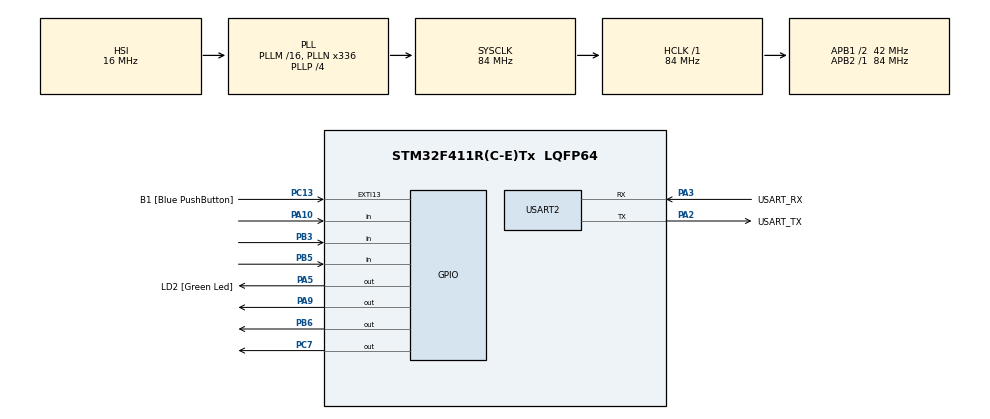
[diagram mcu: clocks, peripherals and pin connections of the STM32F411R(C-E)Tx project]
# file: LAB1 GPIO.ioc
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Mcu.Family=STM32F4
Mcu.Name=STM32F411R(C-E)Tx
Mcu.Package=LQFP64
NVIC.PriorityGroup=NVIC_PRIORITYGROUP_0
PA10.Signal=GPIO_Input
PA13.GPIO_Label=TMS
PA13.Mode=Serial_Wire
PA13.Signal=SYS_JTMS-SWDIO
PA14.GPIO_Label=TCK
PA14.Mode=Serial_Wire
PA14.Signal=SYS_JTCK-SWCLK
PA2.GPIO_Label=USART_TX
PA2.Mode=Asynchronous
PA2.Signal=USART2_TX
PA3.GPIO_Label=USART_RX
PA3.Mode=Asynchronous
PA3.Signal=USART2_RX
PA5.GPIO_Label=LD2 [Green Led]
PA5.Signal=GPIO_Output
PA9.Signal=GPIO_Output
PB3.Signal=GPIO_Input
PB5.Signal=GPIO_Input
PB6.Signal=GPIO_Output
PC13-ANTI_TAMP.GPIO_Label=B1 [Blue PushButton]
PC13-ANTI_TAMP.GPIO_ModeDefaultEXTI=GPIO_MODE_IT_FALLING
PC13-ANTI_TAMP.Signal=GPXTI13
PC14-OSC32_IN.Mode=LSE-External-Oscillator
PC14-OSC32_IN.Signal=RCC_OSC32_IN
PC15-OSC32_OUT.Mode=LSE-External-Oscillator
PC15-OSC32_OUT.Signal=RCC_OSC32_OUT
PC7.Signal=GPIO_Output
PH0\ -\ OSC_IN.Mode=HSE-External-Clock-Source
PH0\ -\ OSC_IN.Signal=RCC_OSC_IN
PH1\ -\ OSC_OUT.Mode=HSE-External-Clock-Source
PH1\ -\ OSC_OUT.Signal=RCC_OSC_OUT
ProjectManager.HeapSize=0x200
ProjectManager.StackSize=0x400
ProjectManager.TargetToolchain=STM32CubeIDE
RCC.48MHZClocksFreq_Value=84000000
RCC.AHBFreq_Value=84000000
RCC.APB1CLKDivider=RCC_HCLK_DIV2
RCC.APB1Freq_Value=42000000
RCC.APB1TimFreq_Value=84000000
RCC.APB2Freq_Value=84000000
RCC.APB2TimFreq_Value=84000000
RCC.CortexFreq_Value=84000000
RCC.FLatency-AdvancedSettings=FLASH_LATENCY_2
RCC.HCLKFreq_Value=84000000
RCC.HSE_VALUE=8000000
RCC.HSI_VALUE=16000000
RCC.PLLN=336
RCC.PLLP=RCC_PLLP_DIV4
RCC.SYSCLKFreq_VALUE=84000000
RCC.SYSCLKSource=RCC_SYSCLKSOURCE_PLLCLK
RCC.VCOOutputFreq_Value=336000000
USART2.VirtualMode=VM_ASYNC
board=NUCLEO-F411RE

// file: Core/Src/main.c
/* USER CODE BEGIN Header */
/**
  ******************************************************************************
  * @file           : main.c
  * @brief          : Main program body
  ******************************************************************************
  * @attention
  *
  * <h2><center>&copy; Copyright (c) 2021 STMicroelectronics.
  * All rights reserved.</center></h2>
  *
  * This software component is licensed by ST under BSD 3-Clause license,
  * the "License"; You may not use this file except in compliance with the
  * License. You may obtain a copy of the License at:
  *                        opensource.org/licenses/BSD-3-Clause
  *
  ******************************************************************************
  */
/* USER CODE END Header */
#include "main.h"

UART_HandleTypeDef huart2;

void SystemClock_Config(void);
static void MX_GPIO_Init(void);
static void MX_USART2_UART_Init(void);

int main(void)
{

  /* MCU Configuration--------------------------------------------------------*/

  /* Reset of all peripherals, Initializes the Flash interface and the Systick. */
  HAL_Init();

  /* Configure the system clock */
  SystemClock_Config();

  /* Initialize all configured peripherals */
  MX_GPIO_Init();
  MX_USART2_UART_Init();
  /* USER CODE BEGIN 2 */
  GPIO_PinState SwitchStateS1[2];
  GPIO_PinState SwitchStateS2[2];
  GPIO_PinState SwitchStateS3[2];
  uint16_t LED1_Period = 166; //3HZ
  uint32_t TimeStamp = 0;
  uint32_t ButtonTimeStamp = 0;
  uint32_t TimeOn = 500;
  uint32_t TimeOff = 1500;
  uint32_t TimeStamp3 = 0;
  /* USER CODE END 2 */

  /* Infinite loop */
  while (1)
  {

    /* USER CODE BEGIN 3 */
		  if (HAL_GetTick() - ButtonTimeStamp >= 100) // mS
			  {
				  ButtonTimeStamp = HAL_GetTick();
			  // switch press in LOW
			  SwitchStateS1[0] = HAL_GPIO_ReadPin(GPIOA, GPIO_PIN_10);
			  if(SwitchStateS1[1] == GPIO_PIN_SET && SwitchStateS1[0] == GPIO_PIN_RESET)
			  {
				  //Change Half Period of LED 1
				  if(LED1_Period == 166) // 2Hz
				  {
					  LED1_Period = 250;
				  }
				  else if(LED1_Period == 250) //1Hz
				  {
					  LED1_Period = 500;
				  }
				  else if(LED1_Period == 500) //0.5Hz
				  {
					  LED1_Period = 1000;
				  }
				  else
				  {
					  LED1_Period = 166; //3Hz
				  }
			  }
			  SwitchStateS1[1] = SwitchStateS1[0];

// S2

			  SwitchStateS2[0] = HAL_GPIO_ReadPin(GPIOB, GPIO_PIN_3);
			  if(SwitchStateS2[1] == GPIO_PIN_SET && SwitchStateS2[0] == GPIO_PIN_RESET)
			  {
				  if(HAL_GPIO_ReadPin(GPIOC, GPIO_PIN_7) == GPIO_PIN_SET)
				  {
					  HAL_GPIO_WritePin(GPIOC, GPIO_PIN_7, GPIO_PIN_RESET);
				  }
				  else
				  {
					  HAL_GPIO_WritePin(GPIOC, GPIO_PIN_7, GPIO_PIN_SET);
				  }
			  }
			  SwitchStateS2[1] = SwitchStateS2[0];
			  }
// S3

			  SwitchStateS3[0] = HAL_GPIO_ReadPin(GPIOB, GPIO_PIN_5);
			  if(SwitchStateS3[1] == GPIO_PIN_SET && SwitchStateS3[0] == GPIO_PIN_RESET)
			  {
				  if(TimeOn == 500 && TimeOff == 1500)
				  {
					  TimeOn = 1500;
					  TimeOff = 500;
				  }
				  else
				  {
					  TimeOn = 500;
					  TimeOff = 1500;
				  }
			  }

// Run LED

		  if(HAL_GetTick() - TimeStamp >= LED1_Period)
		  {
			TimeStamp = HAL_GetTick();
			if(HAL_GPIO_ReadPin(GPIOA, GPIO_PIN_9) == GPIO_PIN_SET)
			{
				HAL_GPIO_WritePin(GPIOA, GPIO_PIN_9, GPIO_PIN_RESET);
			}
			else
			{
				HAL_GPIO_WritePin(GPIOA, GPIO_PIN_9, GPIO_PIN_SET);
			}
		  }

//S3 LED

		  if(HAL_GetTick() - TimeStamp3 >= TimeOn && HAL_GPIO_ReadPin(GPIOB, GPIO_PIN_6) == GPIO_PIN_SET)
		  {
			  TimeStamp3 = HAL_GetTick();
			  HAL_GPIO_WritePin(GPIOB, GPIO_PIN_6, GPIO_PIN_RESET);
		  }
		  else if(HAL_GetTick() - TimeStamp3 >= TimeOff && HAL_GPIO_ReadPin(GPIOB, GPIO_PIN_6) == GPIO_PIN_RESET)
		  {
			  TimeStamp3 = HAL_GetTick();
			  HAL_GPIO_WritePin(GPIOB, GPIO_PIN_6, GPIO_PIN_SET);
		  }
		  SwitchStateS3[1] = SwitchStateS3[0];
  }
  /* USER CODE END 3 */
}

void SystemClock_Config(void)
{
  RCC_OscInitTypeDef RCC_OscInitStruct = {0};
  RCC_ClkInitTypeDef RCC_ClkInitStruct = {0};

  /** Configure the main internal regulator output voltage
  */
  __HAL_RCC_PWR_CLK_ENABLE();
  __HAL_PWR_VOLTAGESCALING_CONFIG(PWR_REGULATOR_VOLTAGE_SCALE1);
  /** Initializes the RCC Oscillators according to the specified parameters
  * in the RCC_OscInitTypeDef structure.
  */
  RCC_OscInitStruct.OscillatorType = RCC_OSCILLATORTYPE_HSI;
  RCC_OscInitStruct.HSIState = RCC_HSI_ON;
  RCC_OscInitStruct.HSICalibrationValue = RCC_HSICALIBRATION_DEFAULT;
  RCC_OscInitStruct.PLL.PLLState = RCC_PLL_ON;
  RCC_OscInitStruct.PLL.PLLSource = RCC_PLLSOURCE_HSI;
  RCC_OscInitStruct.PLL.PLLM = 16;
  RCC_OscInitStruct.PLL.PLLN = 336;
  RCC_OscInitStruct.PLL.PLLP = RCC_PLLP_DIV4;
  RCC_OscInitStruct.PLL.PLLQ = 4;
  if (HAL_RCC_OscConfig(&RCC_OscInitStruct) != HAL_OK)
  {
    Error_Handler();
  }
  /** Initializes the CPU, AHB and APB buses clocks
  */
  RCC_ClkInitStruct.ClockType = RCC_CLOCKTYPE_HCLK|RCC_CLOCKTYPE_SYSCLK
                              |RCC_CLOCKTYPE_PCLK1|RCC_CLOCKTYPE_PCLK2;
  RCC_ClkInitStruct.SYSCLKSource = RCC_SYSCLKSOURCE_PLLCLK;
  RCC_ClkInitStruct.AHBCLKDivider = RCC_SYSCLK_DIV1;
  RCC_ClkInitStruct.APB1CLKDivider = RCC_HCLK_DIV2;
  RCC_ClkInitStruct.APB2CLKDivider = RCC_HCLK_DIV1;

  if (HAL_RCC_ClockConfig(&RCC_ClkInitStruct, FLASH_LATENCY_2) != HAL_OK)
  {
    Error_Handler();
  }
}

static void MX_USART2_UART_Init(void)
{

  huart2.Instance = USART2;
  huart2.Init.BaudRate = 115200;
  huart2.Init.WordLength = UART_WORDLENGTH_8B;
  huart2.Init.StopBits = UART_STOPBITS_1;
  huart2.Init.Parity = UART_PARITY_NONE;
  huart2.Init.Mode = UART_MODE_TX_RX;
  huart2.Init.HwFlowCtl = UART_HWCONTROL_NONE;
  huart2.Init.OverSampling = UART_OVERSAMPLING_16;
  if (HAL_UART_Init(&huart2) != HAL_OK)
  {
    Error_Handler();
  }

}

static void MX_GPIO_Init(void)
{
  GPIO_InitTypeDef GPIO_InitStruct = {0};

  /* GPIO Ports Clock Enable */
  __HAL_RCC_GPIOC_CLK_ENABLE();
  __HAL_RCC_GPIOH_CLK_ENABLE();
  __HAL_RCC_GPIOA_CLK_ENABLE();
  __HAL_RCC_GPIOB_CLK_ENABLE();

  /*Configure GPIO pin Output Level */
  HAL_GPIO_WritePin(GPIOA, LD2_Pin|GPIO_PIN_9, GPIO_PIN_RESET);

  /*Configure GPIO pin Output Level */
  HAL_GPIO_WritePin(GPIOC, GPIO_PIN_7, GPIO_PIN_RESET);

  /*Configure GPIO pin Output Level */
  HAL_GPIO_WritePin(GPIOB, GPIO_PIN_6, GPIO_PIN_RESET);

  /*Configure GPIO pin : B1_Pin */
  GPIO_InitStruct.Pin = B1_Pin;
  GPIO_InitStruct.Mode = GPIO_MODE_IT_FALLING;
  GPIO_InitStruct.Pull = GPIO_NOPULL;
  HAL_GPIO_Init(B1_GPIO_Port, &GPIO_InitStruct);

  /*Configure GPIO pins : LD2_Pin PA9 */
  GPIO_InitStruct.Pin = LD2_Pin|GPIO_PIN_9;
  GPIO_InitStruct.Mode = GPIO_MODE_OUTPUT_PP;
  GPIO_InitStruct.Pull = GPIO_NOPULL;
  GPIO_InitStruct.Speed = GPIO_SPEED_FREQ_LOW;
  HAL_GPIO_Init(GPIOA, &GPIO_InitStruct);

  /*Configure GPIO pin : PC7 */
  GPIO_InitStruct.Pin = GPIO_PIN_7;
  GPIO_InitStruct.Mode = GPIO_MODE_OUTPUT_PP;
  GPIO_InitStruct.Pull = GPIO_NOPULL;
  GPIO_InitStruct.Speed = GPIO_SPEED_FREQ_LOW;
  HAL_GPIO_Init(GPIOC, &GPIO_InitStruct);

  /*Configure GPIO pin : PA10 */
  GPIO_InitStruct.Pin = GPIO_PIN_10;
  GPIO_InitStruct.Mode = GPIO_MODE_INPUT;
  GPIO_InitStruct.Pull = GPIO_NOPULL;
  HAL_GPIO_Init(GPIOA, &GPIO_InitStruct);

  /*Configure GPIO pins : PB3 PB5 */
  GPIO_InitStruct.Pin = GPIO_PIN_3|GPIO_PIN_5;
  GPIO_InitStruct.Mode = GPIO_MODE_INPUT;
  GPIO_InitStruct.Pull = GPIO_NOPULL;
  HAL_GPIO_Init(GPIOB, &GPIO_InitStruct);

  /*Configure GPIO pin : PB6 */
  GPIO_InitStruct.Pin = GPIO_PIN_6;
  GPIO_InitStruct.Mode = GPIO_MODE_OUTPUT_PP;
  GPIO_InitStruct.Pull = GPIO_NOPULL;
  GPIO_InitStruct.Speed = GPIO_SPEED_FREQ_LOW;
  HAL_GPIO_Init(GPIOB, &GPIO_InitStruct);

}

void Error_Handler(void)
{
  __disable_irq();
  while (1)
  {
  }
}

/************************ (C) COPYRIGHT STMicroelectronics *****END OF FILE****/
